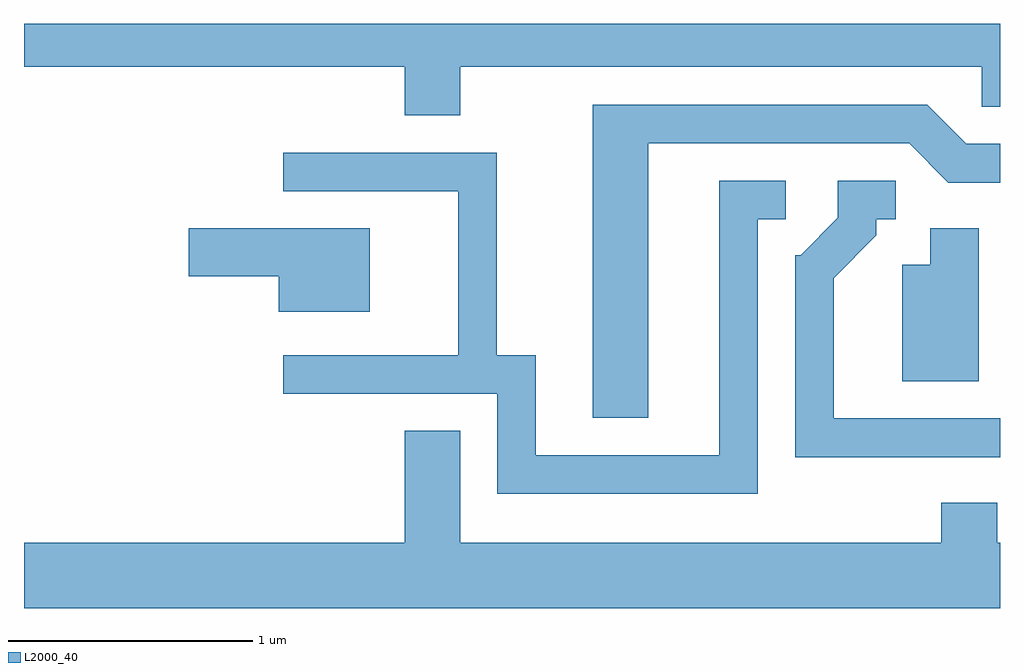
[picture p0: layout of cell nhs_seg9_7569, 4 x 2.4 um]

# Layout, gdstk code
import gdstk
lib = gdstk.Library(unit=1e-6, precision=1e-09)
def P(c, l, *ps):  # polygons
    for p in ps: c.add(gdstk.Polygon(p, *l))
L2000_40 = (2000, 40)

nhs_seg9_7569 = lib.new_cell('nhs_seg9_7569')
P(nhs_seg9_7569, L2000_40, [(411.399,1996.256),(413.536,1996.256),(413.536,1996.091),(413.611,1996.091),(413.611,1996.432),(409.611,1996.432),(409.611,1996.256),(411.171,1996.256),(411.171,1996.056),(411.399,1996.056)],
  [(412.169,1995.941),(413.239,1995.941),(413.399,1995.781),(413.611,1995.781),(413.611,1995.939),(413.472,1995.939),(413.312,1996.099),(411.941,1996.099),(411.941,1994.816),(412.169,1994.816)],
  [(412.619,1995.631),(412.733,1995.631),(412.733,1995.789),(412.461,1995.789),(412.461,1994.664),(411.709,1994.664),(411.709,1995.074),(411.549,1995.074),(411.549,1995.904),(410.673,1995.904),(410.673,1995.746),(411.391,1995.746),(411.391,1995.074),(410.673,1995.074),(410.673,1994.916),(411.551,1994.916),(411.551,1994.506),(412.619,1994.506)],
  [(413.611,1994.814),(412.929,1994.814),(412.929,1995.389),(413.104,1995.564),(413.104,1995.631),(413.183,1995.631),(413.183,1995.789),(412.946,1995.789),(412.946,1995.637),(412.794,1995.484),(412.771,1995.484),(412.771,1994.656),(413.611,1994.656)],
  [(411.029,1995.594),(410.286,1995.594),(410.286,1995.396),(410.656,1995.396),(410.656,1995.251),(411.029,1995.251)],
  [(413.524,1995.594),(413.326,1995.594),(413.326,1995.444),(413.211,1995.444),(413.211,1994.966),(413.524,1994.966)],
  [(413.371,1994.469),(413.371,1994.304),(411.399,1994.304),(411.399,1994.764),(411.171,1994.764),(411.171,1994.304),(409.611,1994.304),(409.611,1994.036),(413.611,1994.036),(413.611,1994.304),(413.599,1994.304),(413.599,1994.469)])

lib.write_gds('nhs_seg9_7569.gds')
